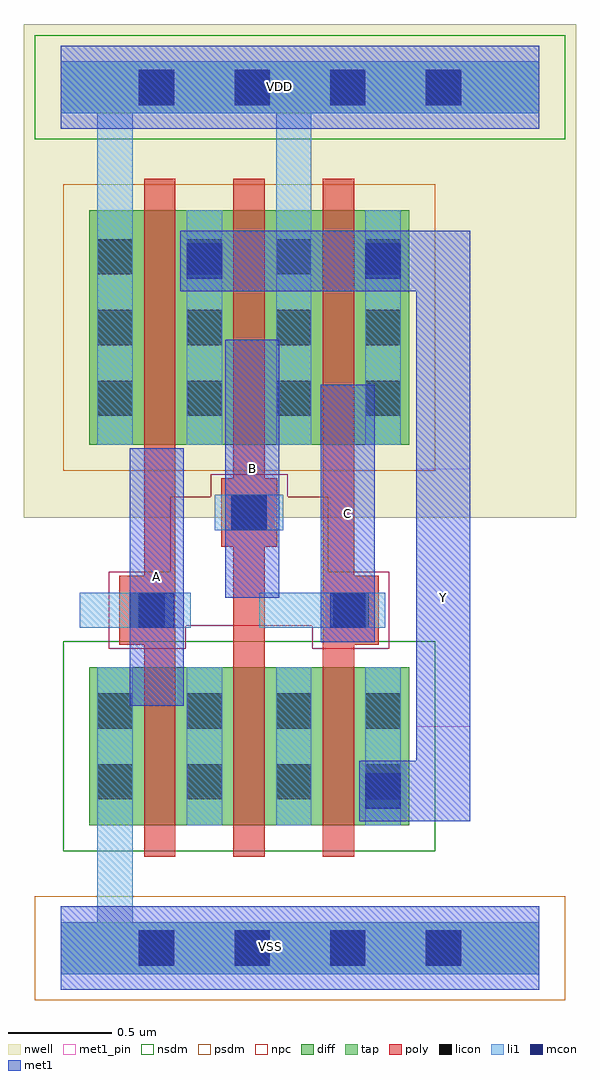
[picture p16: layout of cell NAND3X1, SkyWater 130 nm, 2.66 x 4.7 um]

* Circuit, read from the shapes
.subckt NAND3X1 A B C VDD VSS Y
XM1 n1 A VSS VSS sky130_fd_pr__nfet_01v8 w=0.76 l=0.15
XM2 n2 B n1 VSS sky130_fd_pr__nfet_01v8 w=0.76 l=0.15
XM3 Y C n2 VSS sky130_fd_pr__nfet_01v8 w=0.76 l=0.15
XM4 Y A VDD VDD sky130_fd_pr__pfet_01v8 w=1.13 l=0.15
XM5 VDD B Y VDD sky130_fd_pr__pfet_01v8 w=1.13 l=0.15
XM6 Y C VDD VDD sky130_fd_pr__pfet_01v8 w=1.13 l=0.15
.ends

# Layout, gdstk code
import gdstk
lib = gdstk.Library(unit=1e-6, precision=1e-09)
def R(c, l, rs):  # rectangles x0, y0, x1, y1
    for r in rs: c.add(gdstk.rectangle(r[:2], r[2:], *l))
def A(c, l, x, y, w, h, nx, ny, dx, dy):  # array of equal rectangles
    R(c, l, [(x+i*dx, y+j*dy, x+i*dx+w, y+j*dy+h) for i in range(nx) for j in range(ny)])
nwell = (64, 20)
diff = (65, 20)
tap = (65, 44)
poly = (66, 20)
licon = (66, 44)
li1 = (67, 20)
mcon = (67, 44)
met1_pin = (68, 16)
met1 = (68, 20)
nsdm = (93, 44)
psdm = (94, 20)
npc = (95, 20)

nand3x1 = lib.new_cell('NAND3X1')
R(nand3x1, nwell, [(-0.18,2.07,2.48,4.445)])
R(nand3x1, diff, [(0.135,0.59,1.675,1.35), (0.135,2.42,1.675,3.55)])
R(nand3x1, tap, [(0,-0.125,2.3,0.125), (0,4.015,2.3,4.265)])
R(nand3x1, poly, [(0.4,0.44,0.55,1.46), (0.83,0.44,0.98,1.93), (1.26,0.44,1.41,1.46), (0.28,1.46,0.55,1.79), (1.26,1.46,1.53,1.79), (0.4,1.79,0.55,3.7), (1.26,1.79,1.41,3.7), (0.77,1.93,1.04,2.26), (0.83,2.26,0.98,3.7)])
A(nand3x1, licon, 0.375, -0.085, 0.17, 0.17, 4, 2, 0.46, 4.14)
A(nand3x1, licon, 0.175, 0.715, 0.17, 0.17, 4, 2, 0.43, 0.34)
A(nand3x1, licon, 0.175, 2.56, 0.17, 0.17, 4, 3, 0.43, 0.34)
R(nand3x1, licon, [(0.33,1.54,0.5,1.71), (1.31,1.54,1.48,1.71), (0.82,2.01,0.99,2.18)])
A(nand3x1, li1, 0.605, 0.59, 0.17, 0.76, 3, 1, 0.43, 0)
R(nand3x1, li1, [(0,-0.125,2.3,0.125), (0.175,0.125,0.345,1.35), (0.09,1.54,0.625,1.71), (0.955,1.54,1.56,1.71), (0.74,2.01,1.07,2.18), (0.175,2.42,0.345,4.015), (0.605,2.42,0.775,3.55), (1.035,2.42,1.205,4.015), (1.465,2.42,1.635,3.55), (0,4.015,2.3,4.265)])
A(nand3x1, mcon, 0.375, -0.085, 0.17, 0.17, 4, 2, 0.46, 4.14)
R(nand3x1, mcon, [(1.465,0.67,1.635,0.84), (0.375,1.54,0.545,1.71), (1.295,1.54,1.465,1.71), (0.82,2.01,0.99,2.18), (0.605,3.22,0.775,3.39), (1.465,3.22,1.635,3.39)])
R(nand3x1, met1_pin, [(1.71,1.065,1.97,2.305), (0.33,1.165,0.59,2.405), (1.25,1.47,1.51,2.71), (0.79,1.685,1.05,2.925)])
R(nand3x1, met1, [(0,-0.2,2.3,0.2), (1.435,0.61,1.97,0.9), (1.71,0.9,1.97,3.16), (0.33,1.165,0.59,2.405), (1.25,1.47,1.51,2.71), (0.79,1.685,1.05,2.925), (0.575,3.16,1.97,3.45), (0,3.94,2.3,4.34)])
R(nand3x1, nsdm, [(0.01,0.465,1.8,1.475), (-0.125,3.89,2.425,4.39)])
R(nand3x1, psdm, [(-0.125,-0.25,2.425,0.25), (0.01,2.295,1.8,3.675)])
R(nand3x1, npc, [(0.23,1.44,0.6,1.55), (1.21,1.44,1.58,1.55), (0.23,1.55,1.58,1.81), (0.525,1.81,1.285,2.17), (0.72,2.17,1.09,2.28)])
nand3x1.add(gdstk.Label('VDD', (1.05,4.145), layer=68, texttype=5))
nand3x1.add(gdstk.Label('VSS', (1.01,0.005), layer=68, texttype=5))
nand3x1.add(gdstk.Label('A', (0.46,1.785), layer=68, texttype=5))
nand3x1.add(gdstk.Label('C', (1.38,2.09), layer=68, texttype=5))
nand3x1.add(gdstk.Label('B', (0.92,2.305), layer=68, texttype=5))
nand3x1.add(gdstk.Label('Y', (1.84,1.685), layer=68, texttype=5))

lib.write_gds('NAND3X1.gds')
